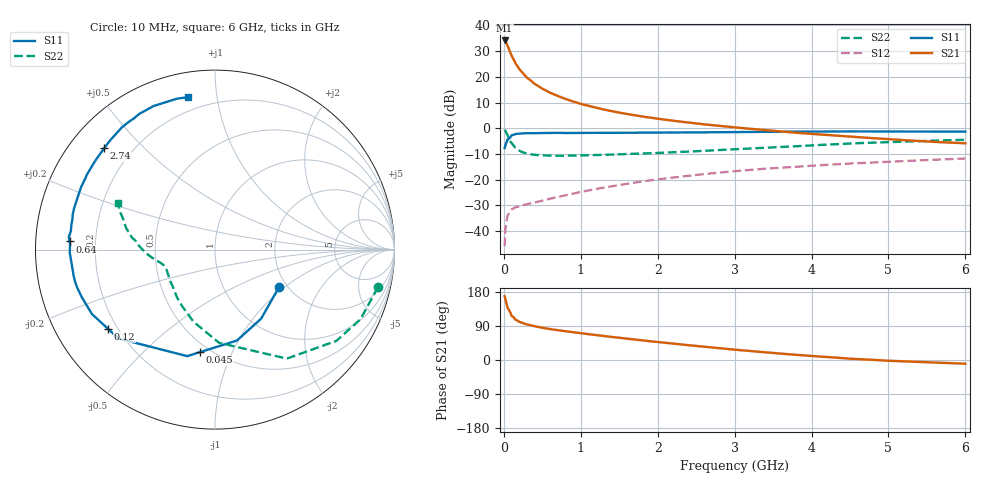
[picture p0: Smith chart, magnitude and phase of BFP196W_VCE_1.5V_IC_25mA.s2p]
! Infineon Technologies  Discrete & RF Semiconductors
! BFP196W
! VCE = 1.5 V,  IC =  25mA
! Common Emitter S-Parameters:  Jan 2016
# GHz  S  MA  R  50
!  f  S11  S21  S12  S22
! GHz  MAG  ANG  MAG  ANG  MAG  ANG  MAG  ANG
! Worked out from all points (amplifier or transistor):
!   210 points, 10 MHz to 6 GHz, reference 50 ohm
!   highest |S21| = 34.2 dB at 10 MHz (marker M1)
!   |S21| within 3 dB of that: start of sweep to 61.24 MHz
!   unconditionally stable (mu >= 1): 774.6 MHz to 3.325 GHz
!   at 185 MHz: K = 0.39, MSG = 27.1 dB, |S12| = -30.5 dB
!   at 1.52 GHz: K = 1.14, MAG = 11.7 dB, |S12| = -21.9 dB
!   at 6 GHz: K = 0.96, MSG = 3.0 dB, |S12| = -11.7 dB
!   S11 on the Smith chart (normalised r, x): 10 MHz: 1.82, -0.91; 45 MHz: 0.44, -0.76; 120 MHz: 0.16, -0.32; 640 MHz: 0.10, +0.03; 2.74 GHz: 0.10, +0.38; 6 GHz: 0.13, +0.83
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0.01  0.4134 -30.0  51.12 168.3  0.0051 77.8  0.9316 -13.0
0.02  0.4628 -56.3  49.87 159.9  0.0106 70.7  0.8986 -25.6
0.03  0.5211 -76.4  46.88 151.3  0.0144 64.0  0.8458 -37.0
0.045  0.5781 -98.5  41.12 140.9  0.0188 54.5  0.748 -51.2
0.05  0.6134 -104.6  39.56 136.8  0.0203 52.3  0.7273 -56.6
0.1  0.7309 -137.3  25.87 117.1  0.0264 37.4  0.5198 -87.5
0.12  0.7419 -143.5  22.86 113.7  0.0274 35.5  0.4733 -94.2
0.15  0.7738 -152.3  18.55 106.7  0.029 32.9  0.4188 -106.7
0.2  0.7881 -160.3  14.22 100.9  0.0304 32.2  0.3668 -119.4
0.26  0.7993 -166.4  11.21 96.2  0.0323 33.3  0.3371 -129.5
0.3  0.801 -169.4  9.663 93.8  0.0333 33.9  0.3205 -135.0
0.4  0.8036 -175.0  7.325 88.8  0.036 36.7  0.3055 -144.0
0.5  0.8095 -179.0  5.899 84.9  0.0392 40.0  0.2979 -150.0
0.64  0.8114 176.8  4.655 80.5  0.044 44.3  0.2935 -155.2
1.02  0.8125 167.9  2.93 70.2  0.0586 51.0  0.2973 -162.2
1.4  0.8175 160.6  2.158 60.9  0.0747 53.7  0.3081 -165.4
2.02  0.827 149.5  1.52 47.1  0.1023 53.9  0.3329 -169.7
2.74  0.8367 137.6  1.138 32.4  0.1349 50.5  0.3734 -175.5
3.1  0.8459 132.0  1.01 25.6  0.151 47.9  0.398 -179.2
4.1  0.8658 118.0  0.763 9.2  0.191 40.3  0.4739 170.8
5.1  0.8657 107.4  0.601 -2.8  0.2272 32.5  0.5457 160.8
6  0.8623 100.0  0.511 -9.8  0.2588 26.2  0.5978 154.4
